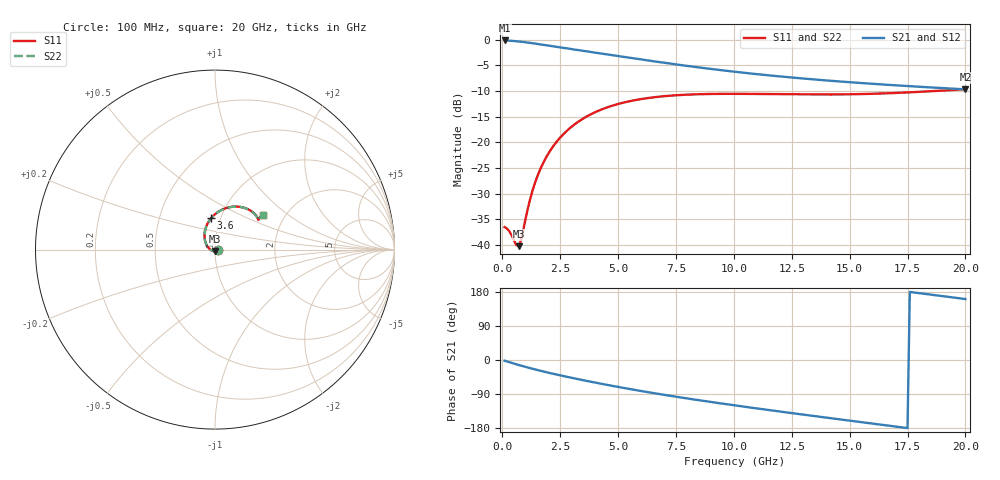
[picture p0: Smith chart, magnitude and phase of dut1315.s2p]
! Touchstone file exported from HFSS 2024.1.0
!  File:  C:/UserFiles/LocalFiles/RDL_TSV_Batchsim/temp_RDL_TSV_1315_1780385600.aedt
!  Generated:  03:46:54 PM Jun  2, 2026
!  Design:  RDL_TSV
!  Project:  temp_RDL_TSV_1315_1780385600
!  Setup:  Setup1
!  Solution:  Sweep
! Variables:
!  dtsv = 13.93um
!  hbump = 3um
!  htsv = 73.83um
!  ldown = 197.8um
!  lrdl = 527.75um
!  p = 40
!  p1 = 55um
!  rhole = 10um
!  subl = 2704.4um
!  t = 450um
!  tdown = 3.87um
!  trdl = 2.82um
!  viad = 10um
!  wdown = 15.7um
!  wrdl = 23.63um
!  xbump = 18um
# GHz S MA R 50.000000
! Terminal data exported
! Port[1] = TM1_1_T1
! Port[2] = TM1_4_T1
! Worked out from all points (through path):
!   200 points, 100 MHz to 20 GHz, reference 50 ohm
!   highest |S21| = -0.14 dB at 100 MHz (marker M1); lowest = -9.7 dB at 20 GHz (marker M2)
!   group delay of S21, straight-line fit = 25.9 ps
!   lowest |S11| = -40.2 dB at 700 MHz (marker M3), VSWR 1.02, Z = 49.9 - j0.966 ohm
!   |S11| at or under -10 dB: start of sweep to 18.65 GHz
!   |S22| runs from -40.2 to -9.6 dB; largest |S21 - S12| = 8.6e-15
!   S11 on the Smith chart (normalised r, x): 100 MHz: 1.03, -0.00; 3.6 GHz: 0.90, +0.33; 20 GHz: 1.55, +0.67
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0.1  0.01493 -6.8  0.9843 -1.9  0.9843 -1.9  0.01493 -6.8
! Gamma 0 0 0 0
! Port Impedance 50 0 50 0
0.3  0.01363 -23.2  0.9798 -5.7  0.9798 -5.7  0.01363 -23.2
0.6  0.01001 -69.8  0.9679 -11.2  0.9679 -11.2  0.01001 -69.9
0.7  0.009731 -96.0  0.9629 -13.0  0.9629 -13.0  0.009726 -96.1
0.8  0.01097 -123.3  0.9575 -14.8  0.9575 -14.8  0.01097 -123.4
1.1  0.02252 -173.9  0.9392 -19.8  0.9392 -19.8  0.02253 -174.0
1.3  0.03353 169.1  0.9258 -23.1  0.9258 -23.1  0.03354 169.1
1.5  0.04572 157.1  0.9119 -26.2  0.9119 -26.2  0.04574 157.0
1.8  0.06515 143.4  0.8907 -30.7  0.8907 -30.7  0.06516 143.4
2.1  0.08506 132.7  0.8697 -35.0  0.8697 -35.0  0.08508 132.7
2.5  0.1113 121.0  0.8426 -40.5  0.8426 -40.5  0.1114 120.9
3  0.1426 108.9  0.8101 -47.1  0.8101 -47.1  0.1426 108.9
3.5  0.171 98.9  0.7791 -53.4  0.7791 -53.4  0.171 98.9
3.6  0.1763 97.0  0.7731 -54.6  0.7731 -54.6  0.1763 97.0
5  0.2365 76.1  0.6936 -71.1  0.6936 -71.1  0.2365 76.1
6.8  0.2791 57.9  0.605 -90.0  0.605 -90.0  0.2791 57.9
8.4  0.2941 47.3  0.5405 -105.3  0.5405 -105.3  0.294 47.3
10.1  0.2971 40.1  0.4858 -120.3  0.4858 -120.3  0.297 40.1
11.7  0.2949 36.2  0.4454 -133.6  0.4454 -133.6  0.2948 36.3
13.4  0.2927 34.6  0.4113 -147.3  0.4113 -147.3  0.2926 34.6
16.7  0.3012 35.1  0.3631 -173.4  0.3631 -173.4  0.3011 35.2
20  0.3297 35.7  0.3286 160.8  0.3286 160.8  0.3298 35.8
